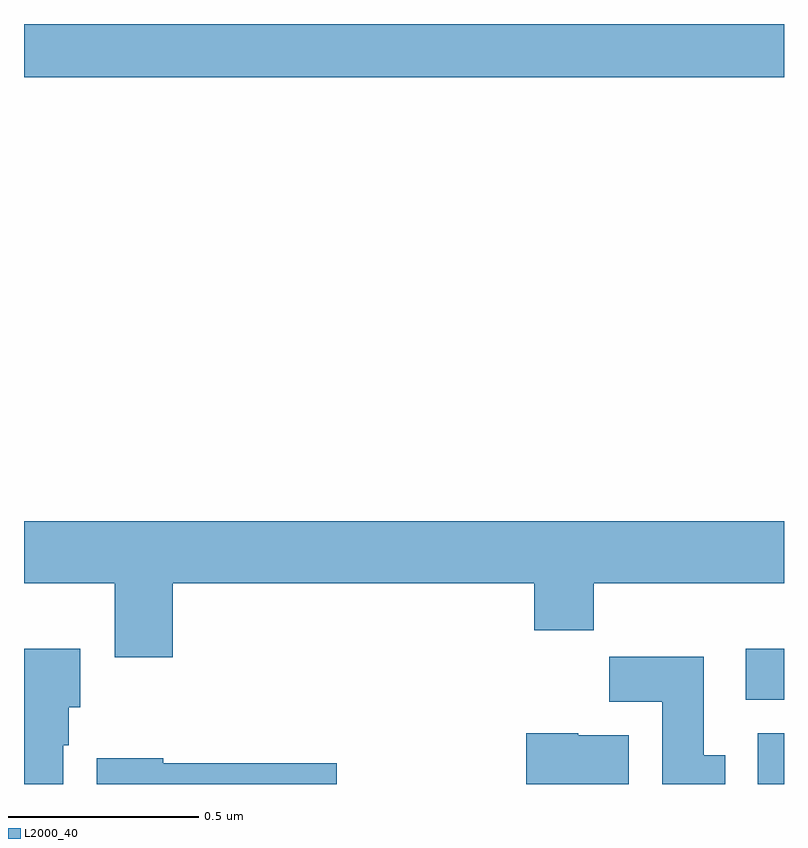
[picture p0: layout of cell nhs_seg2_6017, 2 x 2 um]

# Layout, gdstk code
import gdstk
lib = gdstk.Library(unit=1e-6, precision=1e-09)
def R(c, l, rs):  # rectangles x0, y0, x1, y1
    for r in rs: c.add(gdstk.rectangle(r[:2], r[2:], *l))
def P(c, l, *ps):  # polygons
    for p in ps: c.add(gdstk.Polygon(p, *l))
L2000_40 = (2000, 40)

nhs_seg2_6017 = lib.new_cell('nhs_seg2_6017')
R(nhs_seg2_6017, L2000_40, [(187.931,621.8,188,621.934), (187.899,622.022,188,622.156), (186,623.66,188,623.8)])
P(nhs_seg2_6017, L2000_40, [(186.392,622.328),(187.343,622.328),(187.343,622.204),(187.499,622.204),(187.499,622.328),(188,622.328),(188,622.492),(186,622.492),(186,622.328),(186.239,622.328),(186.239,622.134),(186.392,622.134)],
  [(186.103,621.902),(186.118,621.902),(186.118,622.002),(186.148,622.002),(186.148,622.156),(186,622.156),(186,621.8),(186.103,621.8)],
  [(187.846,621.876),(187.789,621.876),(187.789,622.135),(187.54,622.135),(187.54,622.016),(187.679,622.016),(187.679,621.8),(187.846,621.8)],
  [(187.591,621.928),(187.458,621.928),(187.458,621.934),(187.322,621.934),(187.322,621.8),(187.591,621.8)],
  [(186.823,621.855),(186.366,621.855),(186.366,621.868),(186.191,621.868),(186.191,621.8),(186.823,621.8)])

lib.write_gds('nhs_seg2_6017.gds')
